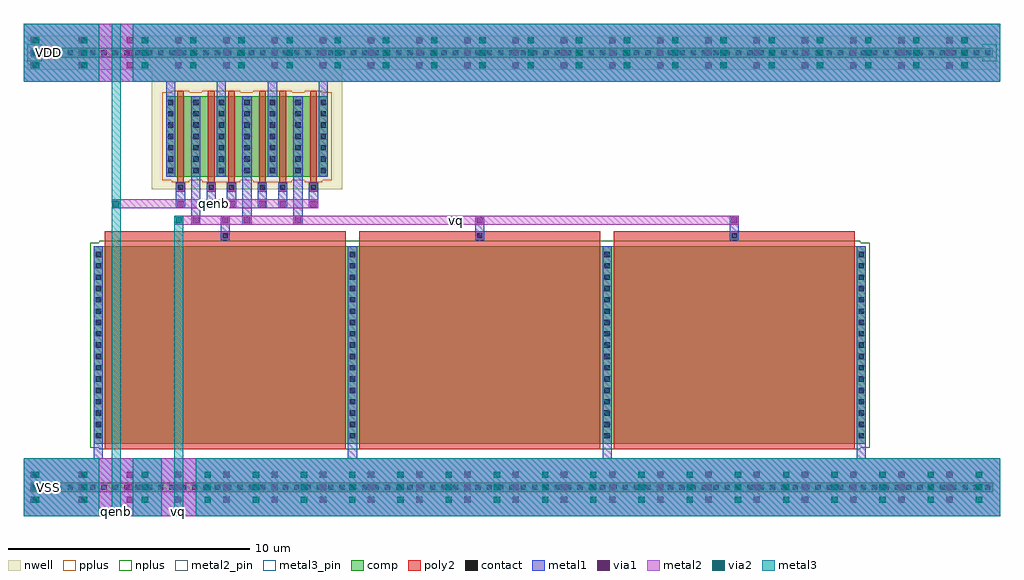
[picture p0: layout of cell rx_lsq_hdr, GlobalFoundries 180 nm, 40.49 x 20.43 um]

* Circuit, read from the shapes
.subckt rx_lsq_hdr VDD VSS qenb vq
XM1 VSS vq VSS VSS nfet_03v3 w=8.19u l=10u m=3
XM2 vq qenb VDD VDD pfet_03v3 w=3.335u l=0.28u m=6
.ends

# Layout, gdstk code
import gdstk
lib = gdstk.Library(unit=1e-6, precision=1e-09)
def R(c, l, rs):  # rectangles x0, y0, x1, y1
    for r in rs: c.add(gdstk.rectangle(r[:2], r[2:], *l))
def A(c, l, x, y, w, h, nx, ny, dx, dy):  # array of equal rectangles
    R(c, l, [(x+i*dx, y+j*dy, x+i*dx+w, y+j*dy+h) for i in range(nx) for j in range(ny)])
nwell = (21, 0)
comp = (22, 0)
poly2 = (30, 0)
pplus = (31, 0)
nplus = (32, 0)
contact = (33, 0)
metal1 = (34, 0)
via1 = (35, 0)
metal2 = (36, 0)
metal2_pin = (36, 10)
via2 = (38, 0)
metal3 = (42, 0)
metal3_pin = (42, 10)

rx_lsq_hdr = lib.new_cell('rx_lsq_hdr')
R(rx_lsq_hdr, nwell, [(5.3,42.765,13.2,47.73), (0.15,47.73,40.34,49.13)])
R(rx_lsq_hdr, comp, [(0.3,30.215,40.19,30.595), (2.9,32.205,34.92,40.395), (5.9,43.295,12.6,46.63), (0.3,48.24,40.19,48.62)])
A(rx_lsq_hdr, poly2, 3.35, 31.975, 10, 9.05, 3, 1, 10.56, 0)
R(rx_lsq_hdr, poly2, [(6.305,42.665,6.675,43.035), (7.585,42.665,7.955,43.035), (8.425,42.665,8.795,43.035), (9.705,42.665,10.075,43.035), (10.545,42.665,10.915,43.035), (11.825,42.665,12.195,43.035), (6.35,43.035,6.63,46.86), (7.63,43.035,7.91,46.86), (8.47,43.035,8.75,46.86), (9.75,43.035,10.03,46.86), (10.59,43.035,10.87,46.86), (11.87,43.035,12.15,46.86)])
R(rx_lsq_hdr, pplus, [(0.28,30.195,40.21,30.615), (6.12,43.065,6.86,43.135), (7.4,43.065,8.98,43.135), (9.52,43.065,11.1,43.135), (11.64,43.065,12.38,43.135), (5.74,43.135,12.76,46.79), (6.12,46.79,6.86,46.86), (7.4,46.79,8.98,46.86), (9.52,46.79,11.1,46.86), (11.64,46.79,12.38,46.86)])
R(rx_lsq_hdr, nplus, [(3.12,31.975,34.7,32.045), (2.74,32.045,35.08,40.555), (3.12,40.555,34.7,40.625), (0.14,48.08,0.74,48.22), (39.75,48.08,40.35,48.22), (0.14,48.22,40.35,48.64), (0.14,48.64,0.74,48.78), (39.75,48.64,40.35,48.78)])
A(rx_lsq_hdr, contact, 0.395, 30.295, 0.22, 0.22, 85, 2, 0.47, 18.025)
A(rx_lsq_hdr, contact, 2.975, 32.43, 0.22, 0.22, 1, 17, 0, 0.47)
A(rx_lsq_hdr, contact, 13.52, 32.43, 0.22, 0.22, 1, 17, 0, 0.47)
A(rx_lsq_hdr, contact, 24.08, 32.43, 0.22, 0.22, 1, 17, 0, 0.47)
A(rx_lsq_hdr, contact, 34.625, 32.43, 0.22, 0.22, 1, 17, 0, 0.47)
A(rx_lsq_hdr, contact, 8.24, 40.73, 0.22, 0.22, 3, 1, 10.56, 0)
A(rx_lsq_hdr, contact, 5.975, 43.44, 0.22, 0.22, 1, 7, 0, 0.47)
A(rx_lsq_hdr, contact, 7.02, 43.44, 0.22, 0.22, 5, 7, 1.06, 0.47)
A(rx_lsq_hdr, contact, 12.305, 43.44, 0.22, 0.22, 1, 7, 0, 0.47)
R(rx_lsq_hdr, contact, [(6.38,42.74,6.6,42.96), (7.66,42.74,7.88,42.96), (8.5,42.74,8.72,42.96), (9.78,42.74,10,42.96), (10.62,42.74,10.84,42.96), (11.9,42.74,12.12,42.96)])
A(rx_lsq_hdr, metal1, 8.16, 40.65, 0.38, 1.02, 3, 1, 10.56, 0)
A(rx_lsq_hdr, metal1, 6.94, 41.29, 0.38, 5.345, 3, 1, 2.12, 0)
R(rx_lsq_hdr, metal1, [(0,29.205,40.49,31.605), (2.895,31.605,3.275,40.4), (13.44,31.605,13.82,40.4), (24,31.605,24.38,40.4), (34.545,31.605,34.925,40.4), (6.3,41.97,6.68,43.04), (7.58,41.97,7.96,43.04), (8.42,41.97,8.8,43.04), (9.7,41.97,10.08,43.04), (10.54,41.97,10.92,43.04), (11.82,41.97,12.2,43.04), (5.895,43.29,6.275,47.23), (8,43.29,8.38,47.23), (10.12,43.29,10.5,47.23), (12.225,43.29,12.605,47.23), (0,47.23,40.49,49.63)])
A(rx_lsq_hdr, via1, 0.27, 29.755, 0.26, 0.26, 20, 3, 2, 0.52)
A(rx_lsq_hdr, via1, 0.27, 47.78, 0.26, 0.26, 20, 3, 2, 0.52)
R(rx_lsq_hdr, via1, [(7,41.35,7.26,41.61), (8.22,41.35,8.48,41.61), (9.12,41.35,9.38,41.61), (11.24,41.35,11.5,41.61), (18.78,41.35,19.04,41.61), (29.34,41.35,29.6,41.61), (6.36,42.03,6.62,42.29), (7.64,42.03,7.9,42.29), (8.48,42.03,8.74,42.29), (9.76,42.03,10.02,42.29), (10.6,42.03,10.86,42.29), (11.88,42.03,12.14,42.29)])
R(rx_lsq_hdr, metal2, [(0,29.205,40.49,31.605), (6.23,41.29,29.66,41.67), (3.63,41.97,12.2,42.35), (0,47.23,40.49,49.63)])
R(rx_lsq_hdr, metal2_pin, [(0.95,30.355,1.05,30.455), (0.95,48.38,1.05,48.48)])
A(rx_lsq_hdr, via2, 0.37, 29.755, 0.26, 0.26, 1, 3, 0, 0.52)
A(rx_lsq_hdr, via2, 2.37, 29.755, 0.26, 0.26, 1, 3, 0, 0.52)
A(rx_lsq_hdr, via2, 4.89, 29.755, 0.26, 0.26, 1, 3, 0, 0.52)
A(rx_lsq_hdr, via2, 7.49, 29.755, 0.26, 0.26, 17, 3, 2, 0.52)
A(rx_lsq_hdr, via2, 0.37, 47.78, 0.26, 0.26, 1, 3, 0, 0.52)
A(rx_lsq_hdr, via2, 2.37, 47.78, 0.26, 0.26, 1, 3, 0, 0.52)
A(rx_lsq_hdr, via2, 4.89, 47.78, 0.26, 0.26, 18, 3, 2, 0.52)
R(rx_lsq_hdr, via2, [(6.29,41.35,6.55,41.61), (3.69,42.03,3.95,42.29)])
R(rx_lsq_hdr, metal3, [(0,29.205,3.12,31.605), (3.63,29.205,4.01,49.63), (4.52,29.205,5.72,31.605), (6.23,29.205,6.61,41.67), (7.12,29.205,40.49,31.605), (0,47.23,3.12,49.63), (4.52,47.23,40.49,49.63)])
R(rx_lsq_hdr, metal3_pin, [(3.77,29.355,3.87,29.455), (6.37,29.355,6.47,29.455)])
rx_lsq_hdr.add(gdstk.Label('vq', (17.945,41.48), layer=36, texttype=0))
rx_lsq_hdr.add(gdstk.Label('qenb', (7.915,42.16), layer=36, texttype=0))
rx_lsq_hdr.add(gdstk.Label('qenb', (3.82,29.405), layer=42, texttype=10))
rx_lsq_hdr.add(gdstk.Label('vq', (6.42,29.405), layer=42, texttype=10))
rx_lsq_hdr.add(gdstk.Label('VSS', (1,30.405), layer=36, texttype=10))
rx_lsq_hdr.add(gdstk.Label('VDD', (1,48.43), layer=36, texttype=10))

lib.write_gds('rx_lsq_hdr.gds')
